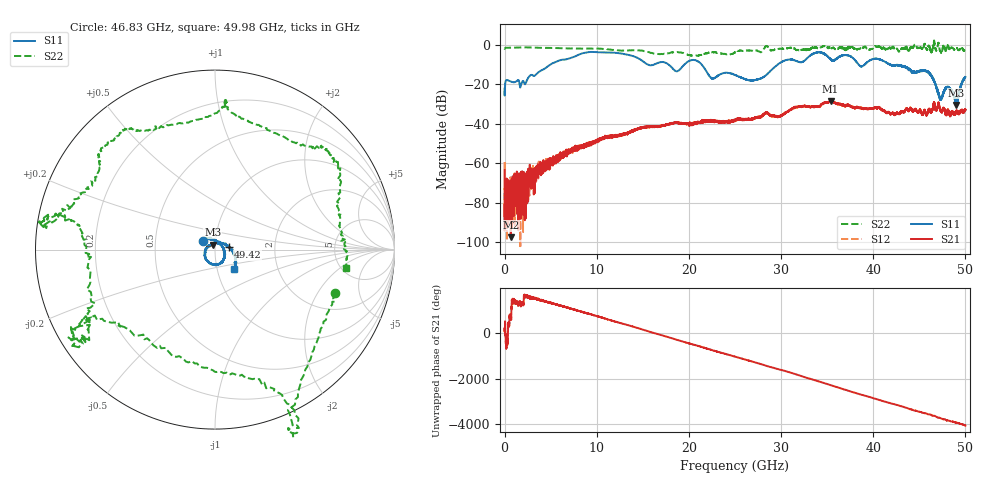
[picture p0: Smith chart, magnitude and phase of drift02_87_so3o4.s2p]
!Created with skrf (http://scikit-rf.org).
# Hz S RI R 50.0
!freq ReS11 ImS11 ReS21 ImS21 ReS12 ImS12 ReS22 ImS22
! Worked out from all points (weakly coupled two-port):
!   10001 points, 300 kHz to 50 GHz, reference 50 ohm
!   highest |S21| = -28.51 dB at 35.37 GHz (marker M1); lowest = -97.6 dB at 675.3 MHz (marker M2)
!   lowest |S11| = -30.5 dB at 49.02 GHz (marker M3), VSWR 1.06, Z = 48.7 + j2.64 ohm
!   |S11| at or under -10 dB: start of sweep to 4.956 GHz; 21.38 GHz to 29.62 GHz (8.241 GHz wide, 32.3 % of centre); 41.82 GHz to end of sweep (the widest 3 of 9)
!   |S22| runs from -5.7 to 2.2 dB; largest |S21 - S12| = 0.003
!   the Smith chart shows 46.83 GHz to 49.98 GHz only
!   S11 on the Smith chart (normalised r, x): 46.83 GHz: 0.87, +0.09; 49.42 GHz: 1.16, +0.04; 49.98 GHz: 1.20, -0.27
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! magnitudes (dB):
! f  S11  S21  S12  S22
! 300 kHz  -22.2  -63.4  -59.4  -2.0
! 255.3 MHz  -17.9  -77.8  -79.7  -1.4
! 675.3 MHz  -18.6  -97.6  -78.4  -1.5
! 8.335 GHz  -4.5  -51.7  -52.1  -1.9
! 16.67 GHz  -9.1  -41.3  -41.5  -4.7
! 18.71 GHz  -13.4  -39.6  -39.5  -3.7
! 20.6 GHz  -7.7  -40.1  -39.7  -5.7
! 22.51 GHz  -17.1  -38.4  -38.9  -3.7
! 25 GHz  -15.3  -38.0  -38.0  -3.9
! 27.47 GHz  -17.6  -36.8  -36.7  -3.2
! 30.22 GHz  -8.3  -35.7  -35.3  -2.0
! 33.34 GHz  -4.9  -31.3  -31.4  -1.6
! 35.37 GHz  -7.2  -28.5  -28.7  -1.3
! 41.67 GHz  -9.6  -34.2  -34.1  -1.9
! 45.82 GHz  -13.3  -35.7  -35.2  -2.4
! 46.83 GHz  -21.6  -32.9  -33.4  -3.0
! 47.28 GHz  -26.6  -33.4  -33.0  -3.3
! 48.12 GHz  -21.4  -33.2  -33.1  -0.6
! 49.02 GHz  -30.5  -34.0  -33.9  -2.0
! 49.42 GHz  -22.3  -33.8  -34.1  -2.3
! 49.98 GHz  -16.4  -32.8  -32.7  -2.6
! 50 GHz  -16.3  -32.8  -32.6  -2.7
